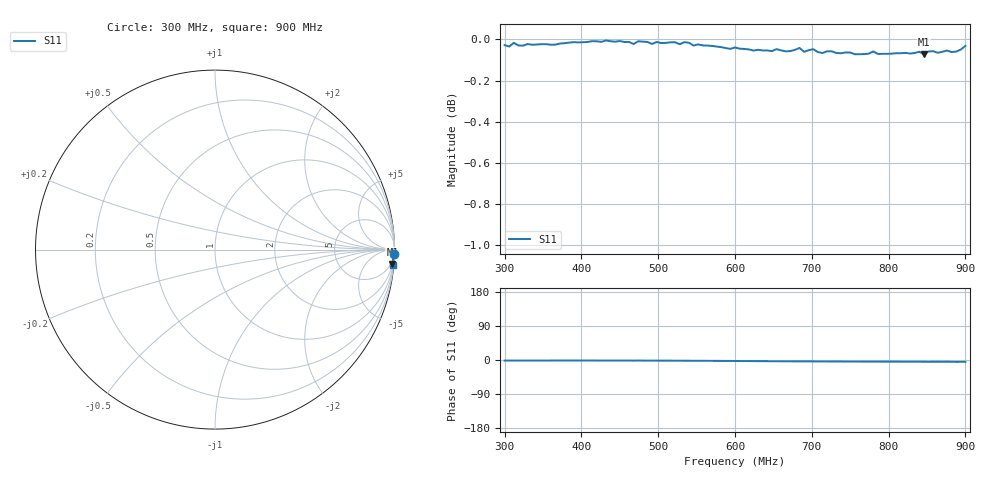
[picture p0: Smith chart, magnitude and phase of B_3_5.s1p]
# HZ S RI R 50
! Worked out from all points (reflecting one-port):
!   101 points, 300 MHz to 900 MHz, reference 50 ohm
!   lowest |S11| = -0.1 dB at 846 MHz (marker M1), VSWR 238.61, Z = 126 - j1.22e+03 ohm
!   phase of S11 starts at -1 deg and turns -3 deg over the sweep
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3e8  0.9964 -0.0257
3.12e8  0.9977 -0.0261
3.78e8  0.9976 -0.0238
4.5e8  0.9988 -0.0252
4.68e8  0.997 -0.0275
4.74e8  0.9986 -0.0265
4.92e8  0.997 -0.0288
4.98e8  0.9981 -0.0286
5.28e8  0.9967 -0.0331
5.34e8  0.9979 -0.0337
5.58e8  0.9959 -0.037
6e8  0.9945 -0.0457
6.48e8  0.9918 -0.0571
6.78e8  0.9922 -0.0618
6.84e8  0.9932 -0.0639
6.9e8  0.9911 -0.0634
7.02e8  0.9923 -0.0662
7.14e8  0.9901 -0.0675
7.5e8  0.9901 -0.0719
8.28e8  0.989 -0.0784
8.4e8  0.99 -0.0787
8.46e8  0.9884 -0.0804
8.52e8  0.9899 -0.0815
8.7e8  0.9897 -0.0814
8.76e8  0.9905 -0.0801
8.82e8  0.9896 -0.0818
8.88e8  0.9894 -0.0862
9e8  0.9929 -0.0835
